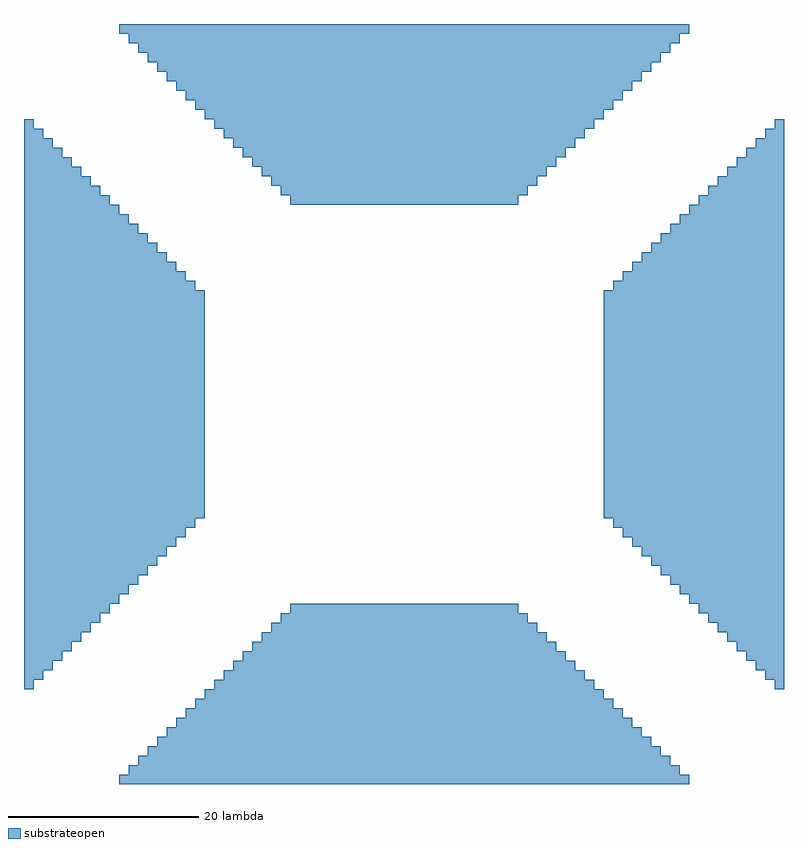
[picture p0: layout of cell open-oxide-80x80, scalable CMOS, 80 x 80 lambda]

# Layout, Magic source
magic
tech scmos
<< substrateopen >>
rect 647 -163 707 -162
rect 648 -164 706 -163
rect 649 -165 705 -164
rect 650 -166 704 -165
rect 651 -167 703 -166
rect 652 -168 702 -167
rect 653 -169 701 -168
rect 654 -170 700 -169
rect 655 -171 699 -170
rect 656 -172 698 -171
rect 637 -173 638 -172
rect 657 -173 697 -172
rect 716 -173 717 -172
rect 637 -174 639 -173
rect 658 -174 696 -173
rect 715 -174 717 -173
rect 637 -175 640 -174
rect 659 -175 695 -174
rect 714 -175 717 -174
rect 637 -176 641 -175
rect 660 -176 694 -175
rect 713 -176 717 -175
rect 637 -177 642 -176
rect 661 -177 693 -176
rect 712 -177 717 -176
rect 637 -178 643 -177
rect 662 -178 692 -177
rect 711 -178 717 -177
rect 637 -179 644 -178
rect 663 -179 691 -178
rect 710 -179 717 -178
rect 637 -180 645 -179
rect 664 -180 690 -179
rect 709 -180 717 -179
rect 637 -181 646 -180
rect 665 -181 689 -180
rect 708 -181 717 -180
rect 637 -182 647 -181
rect 707 -182 717 -181
rect 637 -183 648 -182
rect 706 -183 717 -182
rect 637 -184 649 -183
rect 705 -184 717 -183
rect 637 -185 650 -184
rect 704 -185 717 -184
rect 637 -186 651 -185
rect 703 -186 717 -185
rect 637 -187 652 -186
rect 702 -187 717 -186
rect 637 -188 653 -187
rect 701 -188 717 -187
rect 637 -189 654 -188
rect 700 -189 717 -188
rect 637 -190 655 -189
rect 699 -190 717 -189
rect 637 -214 656 -190
rect 698 -214 717 -190
rect 637 -215 655 -214
rect 699 -215 717 -214
rect 637 -216 654 -215
rect 700 -216 717 -215
rect 637 -217 653 -216
rect 701 -217 717 -216
rect 637 -218 652 -217
rect 702 -218 717 -217
rect 637 -219 651 -218
rect 703 -219 717 -218
rect 637 -220 650 -219
rect 704 -220 717 -219
rect 637 -221 649 -220
rect 705 -221 717 -220
rect 637 -222 648 -221
rect 706 -222 717 -221
rect 637 -223 647 -222
rect 707 -223 717 -222
rect 637 -224 646 -223
rect 665 -224 689 -223
rect 708 -224 717 -223
rect 637 -225 645 -224
rect 664 -225 690 -224
rect 709 -225 717 -224
rect 637 -226 644 -225
rect 663 -226 691 -225
rect 710 -226 717 -225
rect 637 -227 643 -226
rect 662 -227 692 -226
rect 711 -227 717 -226
rect 637 -228 642 -227
rect 661 -228 693 -227
rect 712 -228 717 -227
rect 637 -229 641 -228
rect 660 -229 694 -228
rect 713 -229 717 -228
rect 637 -230 640 -229
rect 659 -230 695 -229
rect 714 -230 717 -229
rect 637 -231 639 -230
rect 658 -231 696 -230
rect 715 -231 717 -230
rect 637 -232 638 -231
rect 657 -232 697 -231
rect 716 -232 717 -231
rect 656 -233 698 -232
rect 655 -234 699 -233
rect 654 -235 700 -234
rect 653 -236 701 -235
rect 652 -237 702 -236
rect 651 -238 703 -237
rect 650 -239 704 -238
rect 649 -240 705 -239
rect 648 -241 706 -240
rect 647 -242 707 -241
<< end >>
